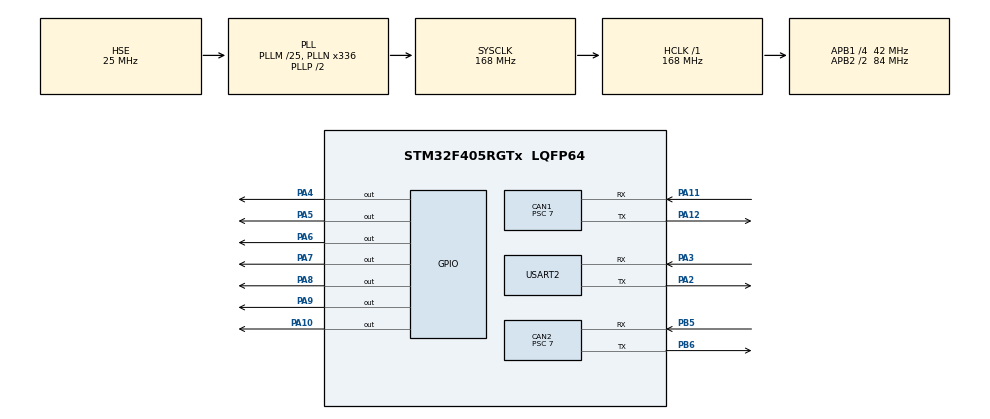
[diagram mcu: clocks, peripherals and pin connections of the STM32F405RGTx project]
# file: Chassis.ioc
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CAN1.ABOM=ENABLE
CAN1.AWUM=ENABLE
CAN1.BS1=CAN_BS1_4TQ
CAN1.CalculateBaudRate=999999
CAN1.CalculateTimeBit=1000
CAN1.CalculateTimeQuantum=166.66666666666669
CAN1.NART=DISABLE
CAN1.Prescaler=7
CAN2.ABOM=ENABLE
CAN2.AWUM=ENABLE
CAN2.BS1=CAN_BS1_4TQ
CAN2.CalculateBaudRate=999999
CAN2.CalculateTimeBit=1000
CAN2.CalculateTimeQuantum=166.66666666666669
CAN2.Prescaler=7
Dma.Request0=USART2_RX
Dma.Request1=USART2_TX
Dma.USART2_RX.0.Direction=DMA_PERIPH_TO_MEMORY
Dma.USART2_RX.0.FIFOMode=DMA_FIFOMODE_DISABLE
Dma.USART2_RX.0.Instance=DMA1_Stream5
Dma.USART2_RX.0.MemDataAlignment=DMA_MDATAALIGN_BYTE
Dma.USART2_RX.0.MemInc=DMA_MINC_ENABLE
Dma.USART2_RX.0.Mode=DMA_NORMAL
Dma.USART2_RX.0.PeriphDataAlignment=DMA_PDATAALIGN_BYTE
Dma.USART2_RX.0.PeriphInc=DMA_PINC_DISABLE
Dma.USART2_RX.0.Priority=DMA_PRIORITY_HIGH
Dma.USART2_TX.1.Direction=DMA_MEMORY_TO_PERIPH
Dma.USART2_TX.1.FIFOMode=DMA_FIFOMODE_DISABLE
Dma.USART2_TX.1.Instance=DMA1_Stream6
Dma.USART2_TX.1.MemDataAlignment=DMA_MDATAALIGN_BYTE
Dma.USART2_TX.1.MemInc=DMA_MINC_ENABLE
Dma.USART2_TX.1.Mode=DMA_NORMAL
Dma.USART2_TX.1.PeriphDataAlignment=DMA_PDATAALIGN_BYTE
Dma.USART2_TX.1.PeriphInc=DMA_PINC_DISABLE
Dma.USART2_TX.1.Priority=DMA_PRIORITY_HIGH
FREERTOS.Tasks01=defaultTask,24,128,StartDefaultTask,Default,NULL,Dynamic,NULL,NULL;VESC,24,128,VESC_motor,Default,NULL,Dynamic,NULL,NULL
FREERTOS.configCHECK_FOR_STACK_OVERFLOW=1
FREERTOS.configENABLE_FPU=1
FREERTOS.configUSE_MALLOC_FAILED_HOOK=1
Mcu.Family=STM32F4
Mcu.Name=STM32F405RGTx
Mcu.Package=LQFP64
NVIC.CAN1_RX0_IRQn=true\:5\:0\:false\:false\:true\:true\:true\:true\:true
NVIC.CAN1_RX1_IRQn=true\:5\:0\:false\:false\:true\:true\:true\:true\:true
NVIC.CAN2_RX0_IRQn=true\:5\:0\:false\:false\:true\:true\:true\:true\:true
NVIC.CAN2_RX1_IRQn=true\:5\:0\:false\:false\:true\:true\:true\:true\:true
NVIC.DMA1_Stream5_IRQn=true\:5\:0\:false\:false\:true\:true\:false\:true\:true
NVIC.DMA1_Stream6_IRQn=true\:5\:0\:false\:false\:true\:true\:false\:true\:true
NVIC.PriorityGroup=NVIC_PRIORITYGROUP_4
NVIC.TIM1_UP_TIM10_IRQn=true\:15\:0\:false\:false\:true\:false\:false\:true\:true
NVIC.TIM2_IRQn=true\:5\:0\:false\:false\:true\:true\:true\:true\:true
NVIC.TIM3_IRQn=true\:5\:0\:false\:false\:true\:true\:true\:true\:true
NVIC.TimeBase=TIM1_UP_TIM10_IRQn
NVIC.TimeBaseIP=TIM1
NVIC.USART2_IRQn=true\:5\:0\:false\:false\:true\:true\:true\:true\:true
PA10.GPIO_PuPd=GPIO_PULLUP
PA10.Signal=GPIO_Output
PA11.Mode=CAN_Activate
PA11.Signal=CAN1_RX
PA12.Mode=CAN_Activate
PA12.Signal=CAN1_TX
PA13.Mode=Serial_Wire
PA13.Signal=SYS_JTMS-SWDIO
PA14.Mode=Serial_Wire
PA14.Signal=SYS_JTCK-SWCLK
PA2.Mode=Asynchronous
PA2.Signal=USART2_TX
PA3.Mode=Asynchronous
PA3.Signal=USART2_RX
PA4.Signal=GPIO_Output
PA5.Signal=GPIO_Output
PA6.Signal=GPIO_Output
PA7.Signal=GPIO_Output
PA8.Signal=GPIO_Output
PA9.GPIO_ModeDefaultOutputPP=GPIO_MODE_OUTPUT_PP
PA9.GPIO_PuPd=GPIO_PULLUP
PA9.Signal=GPIO_Output
PB5.Mode=CAN_Activate
PB5.Signal=CAN2_RX
PB6.Mode=CAN_Activate
PB6.Signal=CAN2_TX
PH0-OSC_IN.Mode=HSE-External-Oscillator
PH0-OSC_IN.Signal=RCC_OSC_IN
PH1-OSC_OUT.Mode=HSE-External-Oscillator
PH1-OSC_OUT.Signal=RCC_OSC_OUT
ProjectManager.HeapSize=0x800
ProjectManager.StackSize=0x400
ProjectManager.TargetToolchain=MDK-ARM V5
RCC.48MHZClocksFreq_Value=84000000
RCC.AHBFreq_Value=168000000
RCC.APB1CLKDivider=RCC_HCLK_DIV4
RCC.APB1Freq_Value=42000000
RCC.APB1TimFreq_Value=84000000
RCC.APB2CLKDivider=RCC_HCLK_DIV2
RCC.APB2Freq_Value=84000000
RCC.APB2TimFreq_Value=168000000
RCC.CortexFreq_Value=168000000
RCC.HCLKFreq_Value=168000000
RCC.HSE_VALUE=25000000
RCC.HSI_VALUE=16000000
RCC.LSE_VALUE=32768
RCC.PLLM=25
RCC.PLLN=336
RCC.PLLSourceVirtual=RCC_PLLSOURCE_HSE
RCC.SYSCLKFreq_VALUE=168000000
RCC.SYSCLKSource=RCC_SYSCLKSOURCE_PLLCLK
RCC.VCOOutputFreq_Value=336000000
STMicroelectronics.X-CUBE-ALGOBUILD.1.4.0.LibraryCcDSPOoLibraryJjDSPOoLibrary=true
TIM2.Period=100-1
TIM2.Prescaler=84-1
TIM3.Period=1000-1
TIM3.Prescaler=84-1
USART2.VirtualMode=VM_ASYNC
VP_FREERTOS_VS_CMSIS_V2.Mode=CMSIS_V2
VP_STMicroelectronics.X-CUBE-ALGOBUILD_VS_DSPOoLibraryJjLibrary_1.4.0_1.4.0.Mode=DSPOoLibraryJjLibrary
VP_SYS_VS_tim1.Mode=TIM1
VP_TIM2_VS_ClockSourceINT.Mode=Internal
VP_TIM3_VS_ClockSourceINT.Mode=Internal
board=custom

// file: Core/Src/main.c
/* USER CODE BEGIN Header */
/**
  ******************************************************************************
  * @file           : main.c
  * @brief          : Main program body
  ******************************************************************************
  * @attention
  *
  * Copyright (c) 2024 STMicroelectronics.
  * All rights reserved.
  *
  * This software is licensed under terms that can be found in the LICENSE file
  * in the root directory of this software component.
  * If no LICENSE file comes with this software, it is provided AS-IS.
  *
  ******************************************************************************
  */
/* USER CODE END Header */
#include "main.h"
#include "cmsis_os.h"
#include "can.h"
#include "dma.h"
#include "tim.h"
#include "usart.h"
#include "gpio.h"

/* USER CODE BEGIN Includes */
#include "DJmotor.h"
#include "VescMotor.h"
#include "CANQUEUE.h"
#include "ZDrive.h"
#include "LED.h"
#include "Valve.h"
#include "Chassis.h"
#include "Speed_cal.h"
/* USER CODE END Includes */

/* USER CODE BEGIN PD */
#define USE_DJ_MOTOR 0
#define USE_VESC_MOTOR 1
#define USE_ZDRIVE_MOTOR 1
#define Error_Detect 1
/* USER CODE END PD */
volatile bool CAN2SendQueueFULL = 0;
volatile bool CAN1SendQueueFULL = 0;

void SystemClock_Config(void);
void MX_FREERTOS_Init(void);

int main(void)
{

  /* MCU Configuration--------------------------------------------------------*/

  /* Reset of all peripherals, Initializes the Flash interface and the Systick. */
  HAL_Init();

  /* USER CODE BEGIN Init */
	DJMotorInit();//记住要初始化
  VescInit();
  ZdriveInit();
	CAN_Queue_Init(&Vesc_queue,1);//0代表的是标准�? 1为扩展帧
  CAN_Queue_Init(&ZDrive_queue,0);
  CAN_Queue_Init(&Answer_queue,1);
  /* USER CODE END Init */

  /* Configure the system clock */
  SystemClock_Config();

  /* Initialize all configured peripherals */
  MX_GPIO_Init();
  MX_DMA_Init();
  MX_CAN1_Init();
  MX_TIM3_Init();
  MX_CAN2_Init();
  MX_TIM2_Init();
  MX_USART2_UART_Init();
  /* USER CODE BEGIN 2 */
  //HAL_UART_Receive_DMA(&huart2,&rx_temp,1);
  /* USER CODE END 2 */

  /* Init scheduler */
  osKernelInitialize();

  /* Call init function for freertos objects (in cmsis_os2.c) */
  MX_FREERTOS_Init();

  /* Start scheduler */
  osKernelStart();

  /* We should never get here as control is now taken by the scheduler */

  /* Infinite loop */
  while (1)
  {

  }
}

void SystemClock_Config(void)
{
  RCC_OscInitTypeDef RCC_OscInitStruct = {0};
  RCC_ClkInitTypeDef RCC_ClkInitStruct = {0};

  /** Configure the main internal regulator output voltage
  */
  __HAL_RCC_PWR_CLK_ENABLE();
  __HAL_PWR_VOLTAGESCALING_CONFIG(PWR_REGULATOR_VOLTAGE_SCALE1);

  /** Initializes the RCC Oscillators according to the specified parameters
  * in the RCC_OscInitTypeDef structure.
  */
  RCC_OscInitStruct.OscillatorType = RCC_OSCILLATORTYPE_HSE;
  RCC_OscInitStruct.HSEState = RCC_HSE_ON;
  RCC_OscInitStruct.PLL.PLLState = RCC_PLL_ON;
  RCC_OscInitStruct.PLL.PLLSource = RCC_PLLSOURCE_HSE;
  RCC_OscInitStruct.PLL.PLLM = 25;
  RCC_OscInitStruct.PLL.PLLN = 336;
  RCC_OscInitStruct.PLL.PLLP = RCC_PLLP_DIV2;
  RCC_OscInitStruct.PLL.PLLQ = 4;
  if (HAL_RCC_OscConfig(&RCC_OscInitStruct) != HAL_OK)
  {
    Error_Handler();
  }

  /** Initializes the CPU, AHB and APB buses clocks
  */
  RCC_ClkInitStruct.ClockType = RCC_CLOCKTYPE_HCLK|RCC_CLOCKTYPE_SYSCLK
                              |RCC_CLOCKTYPE_PCLK1|RCC_CLOCKTYPE_PCLK2;
  RCC_ClkInitStruct.SYSCLKSource = RCC_SYSCLKSOURCE_PLLCLK;
  RCC_ClkInitStruct.AHBCLKDivider = RCC_SYSCLK_DIV1;
  RCC_ClkInitStruct.APB1CLKDivider = RCC_HCLK_DIV4;
  RCC_ClkInitStruct.APB2CLKDivider = RCC_HCLK_DIV2;

  if (HAL_RCC_ClockConfig(&RCC_ClkInitStruct, FLASH_LATENCY_5) != HAL_OK)
  {
    Error_Handler();
  }
}

/* USER CODE BEGIN 4 */

//void HAL_UART_RxCpltCallback(UART_HandleTypeDef *huart)
//{
//    if(huart->Instance == USART2){
//      uart_CMReceive(&uc2,rx_temp);
//    }
//    HAL_UART_Receive_DMA(&huart2,&rx_temp,1);
//}
/* USER CODE END 4 */

void HAL_TIM_PeriodElapsedCallback(TIM_HandleTypeDef *htim)
{
  if (htim->Instance == TIM1) {
    HAL_IncTick();
  }
  /* USER CODE BEGIN Callback 1 */
	if(htim->Instance == TIM3)
  {
    #if USE_DJ_MOTOR
        DJFunc(); // 大疆电机
    #endif

    #if USE_VESC_MOTOR
        static int VESCCount;
        if ((VESCCount++) >= 10)
        {
			      VESCCount = 0;
            VescFunc(); // vesc 10ms发一�?????
        }
    #endif

    #if USE_ZDRIVE_MOTOR
        static int ZDriveCount;
        if(ZDriveCount++ >=20)
        {
            ZDriveCount = 0;
            ZdriveFunc();
        }
    #endif

    #if Error_Detect
        bool Errorflag = 0;
        static uint8_t ErrorCnt;
        if(ErrorCnt++ >=10)
        {
          uint8_t Tx_data[8] = {0};
          for(int i = 0 ;i < 4;i++)
          {
            if(Vescmotor[i].statusflag.timeoutflag){
              Tx_data[i] = 1;
              Errorflag = 1;
            }

            if(Vescmotor[i].statusflag.stuckflag){
              Tx_data[i] = 2;
              Errorflag = 1;
            }
            if(Zmotor[i].statusflag.err > 0){
              uint8_t tempErr;
              tempErr = (uint8_t)Zmotor[i].statusflag.err;
              memcpy(&Tx_data[i+4],&tempErr,1);
              Errorflag = 1;
            }
          }
          if(Errorflag){
            if(CAN_Queue_IsFull(&Answer_queue))
            {
              CAN2SendQueueFULL++;
              return;
            }
            else
            {
              Answer_queue.messages[Answer_queue.tail].DLC = 8;
              Answer_queue.messages[Answer_queue.tail].id = 0x020201EE;
              memcpy(Answer_queue.messages[Answer_queue.tail].data,Tx_data,8);
              Answer_queue.tail = (Answer_queue.tail + 1) % Queue_MAXN;
              Errorflag = 0;
            }
          }
        }

    #endif
  }
  if(htim->Instance == TIM2)
  {

    CAN_Queue_Dequeue(&Answer_queue,CAN1);

    #if USE_VESC_MOTOR
      CAN_Queue_Dequeue(&Vesc_queue,CAN2);//0.1ms发一�?????
    #endif

    #if USE_ZDRIVE_MOTOR
      CAN_Queue_Dequeue(&ZDrive_queue,CAN2);
    #endif
  }
  /* USER CODE END Callback 1 */
}

void Error_Handler(void)
{
  __disable_irq();
  while (1)
  {
  }
}

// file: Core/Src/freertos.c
/* USER CODE BEGIN Header */
/**
  ******************************************************************************
  * File Name          : freertos.c
  * Description        : Code for freertos applications
  ******************************************************************************
  * @attention
  *
  * Copyright (c) 2024 STMicroelectronics.
  * All rights reserved.
  *
  * This software is licensed under terms that can be found in the LICENSE file
  * in the root directory of this software component.
  * If no LICENSE file comes with this software, it is provided AS-IS.
  *
  ******************************************************************************
  */
/* USER CODE END Header */

#include "FreeRTOS.h"
#include "task.h"
#include "main.h"
#include "cmsis_os.h"

/* USER CODE BEGIN Includes */
#include "LED.h"
#include "ZDrive.h"
#include "mathFunc.h"
#include "Valve.h"
#include "usart.h"
#include "usart_commnuicate.h"
/* USER CODE END Includes */

/* Definitions for defaultTask */
osThreadId_t defaultTaskHandle;
const osThreadAttr_t defaultTask_attributes = {
  .name = "defaultTask",
  .stack_size = 128 * 4,
  .priority = (osPriority_t) osPriorityNormal,
};
/* Definitions for VESC */
osThreadId_t VESCHandle;
const osThreadAttr_t VESC_attributes = {
  .name = "VESC",
  .stack_size = 128 * 4,
  .priority = (osPriority_t) osPriorityNormal,
};

void StartDefaultTask(void *argument);
void VESC_motor(void *argument);

void MX_FREERTOS_Init(void); /* (MISRA C 2004 rule 8.1) */

/* Hook prototypes */
void vApplicationStackOverflowHook(xTaskHandle xTask, signed char *pcTaskName);
void vApplicationMallocFailedHook(void);

/* USER CODE BEGIN 4 */
void vApplicationStackOverflowHook(xTaskHandle xTask, signed char *pcTaskName)
{
   /* Run time stack overflow checking is performed if
   configCHECK_FOR_STACK_OVERFLOW is defined to 1 or 2. This hook function is
   called if a stack overflow is detected. */
}
/* USER CODE END 4 */

/* USER CODE BEGIN 5 */
void vApplicationMallocFailedHook(void)
{
   /* vApplicationMallocFailedHook() will only be called if
   configUSE_MALLOC_FAILED_HOOK is set to 1 in FreeRTOSConfig.h. It is a hook
   function that will get called if a call to pvPortMalloc() fails.
   pvPortMalloc() is called internally by the kernel whenever a task, queue,
   timer or semaphore is created. It is also called by various parts of the
   demo application. If heap_1.c or heap_2.c are used, then the size of the
   heap available to pvPortMalloc() is defined by configTOTAL_HEAP_SIZE in
   FreeRTOSConfig.h, and the xPortGetFreeHeapSize() API function can be used
   to query the size of free heap space that remains (although it does not
   provide information on how the remaining heap might be fragmented). */
}
/* USER CODE END 5 */

void MX_FREERTOS_Init(void) {

  /* Create the thread(s) */
  /* creation of defaultTask */
  defaultTaskHandle = osThreadNew(StartDefaultTask, NULL, &defaultTask_attributes);

  /* creation of VESC */
  VESCHandle = osThreadNew(VESC_motor, NULL, &VESC_attributes);

}

void StartDefaultTask(void *argument)
{
  /* USER CODE BEGIN StartDefaultTask */
  /* Infinite loop */
  //unsigned char Data[] = {0x01,0x02,0x03};
  for(;;)
  {
    LED_Flow();
		//Valve_Control(255);
    //uart_CMTransmit(&uc2,0,&Data[0],3);
  }
  /* USER CODE END StartDefaultTask */
}

void VESC_motor(void *argument)
{
  /* USER CODE BEGIN VESC_motor */
  /* Infinite loop */
  //int id = 0;
	//bool flag = 0;
  //Zmotor[id].Begin = false;
  //Zmotor[id].Enable = 1;
	//ZdriveSetPresentPos(0,id+1);
  for(;;)
  {

    // if(Zmotor[id].Enable){
		// 	if(Zmotor[id].Begin)
		// 	{
		// 		Zmotor[id].valSetNow.angle += 360.f;
		 		osDelay(100);
		// 		if(ABS(ABS(Zmotor[id].valReal.angle/Zmotor[id].valSetNow.angle)-1) < 1e-3f )
		// 			HAL_GPIO_WritePin(GPIOA,GPIO_PIN_8,GPIO_PIN_SET);
		// 		osDelay(100);
		// 		HAL_GPIO_WritePin(GPIOA,GPIO_PIN_8,GPIO_PIN_RESET);
		// 		osDelay(1800);
		// 	}
		// 	else{
		// 		 ZdriveSetPresentPos(0,id+1);
		// 	}
//	}
//    if(ABS(ABS(Zmotor[id].valReal.angle/Zmotor[id].valReal.posIn)-1) < 1e-3 )
//    {
//
//
//
//    }

  }
  /* USER CODE END VESC_motor */
}
